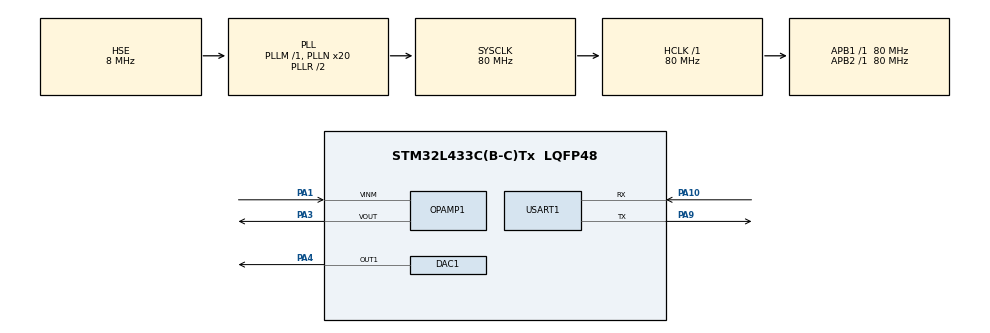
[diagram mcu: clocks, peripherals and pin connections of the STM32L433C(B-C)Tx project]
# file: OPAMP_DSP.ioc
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ADC1.Channel-0\#ChannelRegularConversion=ADC_CHANNEL_8
ADC1.ExternalTrigConv=ADC_EXTERNALTRIG_T1_TRGO
ADC1.NbrOfConversionFlag=1
ADC1.Offset-0\#ChannelRegularConversion=2048
ADC1.OffsetNumber-0\#ChannelRegularConversion=ADC_OFFSET_1
ADC1.Rank-0\#ChannelRegularConversion=1
ADC1.SamplingTime-0\#ChannelRegularConversion=ADC_SAMPLETIME_92CYCLES_5
ADC1.master=1
Dma.ADC1.0.Direction=DMA_PERIPH_TO_MEMORY
Dma.ADC1.0.Instance=DMA1_Channel1
Dma.ADC1.0.MemDataAlignment=DMA_MDATAALIGN_HALFWORD
Dma.ADC1.0.MemInc=DMA_MINC_ENABLE
Dma.ADC1.0.Mode=DMA_NORMAL
Dma.ADC1.0.PeriphDataAlignment=DMA_PDATAALIGN_HALFWORD
Dma.ADC1.0.PeriphInc=DMA_PINC_DISABLE
Dma.ADC1.0.Priority=DMA_PRIORITY_LOW
Dma.Request0=ADC1
Mcu.Family=STM32L4
Mcu.Name=STM32L433C(B-C)Tx
Mcu.Package=LQFP48
NVIC.DMA1_Channel1_IRQn=true\:0\:0\:false\:false\:true\:false\:true
NVIC.PriorityGroup=NVIC_PRIORITYGROUP_4
PA1.Mode=Standalone-DAC_OUT1-INP
PA1.Signal=OPAMP1_VINM
PA10.Mode=Asynchronous
PA10.Signal=USART1_RX
PA3.Mode=Standalone-DAC_OUT1-INP
PA3.Signal=OPAMP1_VOUT
PA4.Signal=COMP_DAC11_group
PA9.Mode=Asynchronous
PA9.Signal=USART1_TX
PH0-OSC_IN\ (PH0).Mode=HSE-External-Oscillator
PH0-OSC_IN\ (PH0).Signal=RCC_OSC_IN
PH1-OSC_OUT\ (PH1).Mode=HSE-External-Oscillator
PH1-OSC_OUT\ (PH1).Signal=RCC_OSC_OUT
ProjectManager.HeapSize=0x200
ProjectManager.StackSize=0x400
ProjectManager.TargetToolchain=STM32CubeIDE
RCC.ADCFreq_Value=32000000
RCC.AHBFreq_Value=80000000
RCC.APB1Freq_Value=80000000
RCC.APB1TimFreq_Value=80000000
RCC.APB2Freq_Value=80000000
RCC.APB2TimFreq_Value=80000000
RCC.CortexFreq_Value=80000000
RCC.HCLKFreq_Value=80000000
RCC.HSE_VALUE=8000000
RCC.HSI48_VALUE=48000000
RCC.HSI_VALUE=16000000
RCC.LSE_VALUE=32768
RCC.MSI_VALUE=4000000
RCC.PLLN=20
RCC.PLLSourceVirtual=RCC_PLLSOURCE_HSE
RCC.SYSCLKFreq_VALUE=80000000
RCC.SYSCLKSource=RCC_SYSCLKSOURCE_PLLCLK
RCC.USBFreq_Value=32000000
RCC.VCOOutputFreq_Value=160000000
SH.COMP_DAC11_group.0=DAC1_OUT1,DAC_OUT1_ExtAndInt
TIM1.Period=46-1
TIM1.Prescaler=40-1
TIM1.TIM_MasterOutputTrigger=TIM_TRGO_UPDATE
TIM1.TIM_MasterSlaveMode=TIM_MASTERSLAVEMODE_ENABLE
USART1.VirtualMode-Asynchronous=VM_ASYNC
VP_ADC1_OPAMP1_OUT.Mode=IN8-OPAMP1-Single-Ended
VP_TIM1_VS_ClockSourceINT.Mode=Internal
board=custom

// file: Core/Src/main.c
/* USER CODE BEGIN Header */
/**
  ******************************************************************************
  * @file           : main.c
  * @brief          : Main program body
  ******************************************************************************
  * @attention
  *
  * <h2><center>&copy; Copyright (c) 2021 STMicroelectronics.
  * All rights reserved.</center></h2>
  *
  * This software component is licensed by ST under BSD 3-Clause license,
  * the "License"; You may not use this file except in compliance with the
  * License. You may obtain a copy of the License at:
  *                        opensource.org/licenses/BSD-3-Clause
  *
  ******************************************************************************
  */
#define ARM_MATH_CM4
/* USER CODE END Header */
#include "main.h"

/* USER CODE BEGIN Includes */
#include "arm_math.h"
#include <stdio.h>
#include <string.h>
#include <stdbool.h>
/* USER CODE END Includes */

/* USER CODE BEGIN PD */
#define ADC_BUFFER_SIZE 2048	// Size of sampling buffer (for DMA)
#define FFT_BUFFER_SIZE 2048	// Size of FFT output buffer
/* USER CODE END PD */

ADC_HandleTypeDef hadc1;
DMA_HandleTypeDef hdma_adc1;

DAC_HandleTypeDef hdac1;

OPAMP_HandleTypeDef hopamp1;

TIM_HandleTypeDef htim1;

UART_HandleTypeDef huart1;

/* USER CODE BEGIN PV */
char message[64];
int16_t adc_buffer[ADC_BUFFER_SIZE];
float32_t adc_buffer_float[ADC_BUFFER_SIZE]; 	// Buffer to store the ADC samples in volts
int freqs[ADC_BUFFER_SIZE];						// Buffer to report FFT amplitude
float32_t fft_out_buf[2*ADC_BUFFER_SIZE];		// Buffer to store the FFT result
volatile bool adc_complete = 0;
/* USER CODE END PV */

void SystemClock_Config(void);
static void MX_GPIO_Init(void);
static void MX_DMA_Init(void);
static void MX_DAC1_Init(void);
static void MX_OPAMP1_Init(void);
static void MX_ADC1_Init(void);
static void MX_USART1_UART_Init(void);
static void MX_TIM1_Init(void);
/* USER CODE BEGIN PFP */
float complexABS(float real, float compl);
void DoFFT();
/* USER CODE END PFP */

/* USER CODE BEGIN 0 */
arm_rfft_fast_instance_f32 fft_inst;
/* USER CODE END 0 */

int main(void)
{

  /* MCU Configuration--------------------------------------------------------*/

  /* Reset of all peripherals, Initializes the Flash interface and the Systick. */
  HAL_Init();

  /* Configure the system clock */
  SystemClock_Config();

  /* Initialize all configured peripherals */
  MX_GPIO_Init();
  MX_DMA_Init();
  MX_DAC1_Init();
  MX_OPAMP1_Init();
  MX_ADC1_Init();
  MX_USART1_UART_Init();
  MX_TIM1_Init();
  /* USER CODE BEGIN 2 */
  arm_rfft_fast_init_f32(&fft_inst, 2048);
  sprintf(message,"Hello \n\r");
  HAL_UART_Transmit(&huart1, (uint8_t*)message, strlen(message), HAL_MAX_DELAY);
  HAL_ADCEx_Calibration_Start(&hadc1, ADC_SINGLE_ENDED);
  HAL_DAC_Start(&hdac1, DAC_CHANNEL_1);
  HAL_OPAMP_Start(&hopamp1);
  HAL_DAC_SetValue(&hdac1, DAC_CHANNEL_1, DAC_ALIGN_12B_R, 2048u);
//  HAL_ADC_Start(&hadc1);
  HAL_TIM_Base_Start(&htim1);
  HAL_ADC_Start_DMA(&hadc1, (uint32_t*)adc_buffer, ADC_BUFFER_SIZE);
  /* USER CODE END 2 */

  /* Infinite loop */
  /* USER CODE BEGIN WHILE */
  while (1)
  {
	  if(adc_complete == 1)
	  {
		  adc_complete = 0;
		  for (int i = 0; i < ADC_BUFFER_SIZE; i++ )
			  adc_buffer_float[i] = (float)adc_buffer[i]*3.3/4096.0;
		  HAL_ADC_Start_DMA(&hadc1, (uint32_t*)adc_buffer, ADC_BUFFER_SIZE);
		  DoFFT();
		  sprintf(message,"S, ");
		  HAL_UART_Transmit(&huart1, (uint8_t*)message, strlen(message), 10);
		  for(int i = 0; i < ADC_BUFFER_SIZE/2; i++)
		  {
			  sprintf(message,"%d, ", freqs[i]);
			  HAL_UART_Transmit(&huart1, (uint8_t*)message, strlen(message), 10);
		  }
		  sprintf(message,"\n\r");
		  HAL_UART_Transmit(&huart1, (uint8_t*)message, strlen(message), 10);
	  }
//	 int16_t adc_value = 0;
//	 HAL_ADC_Start(&hadc1);
//	 HAL_ADC_PollForConversion(&hadc1, 10);
//	 adc_value = HAL_ADC_GetValue(&hadc1);
//	 sprintf(message,"ADC = %d\n\r", adc_value);
//	 HAL_UART_Transmit(&huart1, (uint8_t*)message, strlen(message), 10);
//	 HAL_Delay(100);

    /* USER CODE END WHILE */

  }
}

void SystemClock_Config(void)
{
  RCC_OscInitTypeDef RCC_OscInitStruct = {0};
  RCC_ClkInitTypeDef RCC_ClkInitStruct = {0};
  RCC_PeriphCLKInitTypeDef PeriphClkInit = {0};

  /** Initializes the RCC Oscillators according to the specified parameters
  * in the RCC_OscInitTypeDef structure.
  */
  RCC_OscInitStruct.OscillatorType = RCC_OSCILLATORTYPE_HSE;
  RCC_OscInitStruct.HSEState = RCC_HSE_ON;
  RCC_OscInitStruct.PLL.PLLState = RCC_PLL_ON;
  RCC_OscInitStruct.PLL.PLLSource = RCC_PLLSOURCE_HSE;
  RCC_OscInitStruct.PLL.PLLM = 1;
  RCC_OscInitStruct.PLL.PLLN = 20;
  RCC_OscInitStruct.PLL.PLLP = RCC_PLLP_DIV7;
  RCC_OscInitStruct.PLL.PLLQ = RCC_PLLQ_DIV2;
  RCC_OscInitStruct.PLL.PLLR = RCC_PLLR_DIV2;
  if (HAL_RCC_OscConfig(&RCC_OscInitStruct) != HAL_OK)
  {
    Error_Handler();
  }
  /** Initializes the CPU, AHB and APB buses clocks
  */
  RCC_ClkInitStruct.ClockType = RCC_CLOCKTYPE_HCLK|RCC_CLOCKTYPE_SYSCLK
                              |RCC_CLOCKTYPE_PCLK1|RCC_CLOCKTYPE_PCLK2;
  RCC_ClkInitStruct.SYSCLKSource = RCC_SYSCLKSOURCE_PLLCLK;
  RCC_ClkInitStruct.AHBCLKDivider = RCC_SYSCLK_DIV1;
  RCC_ClkInitStruct.APB1CLKDivider = RCC_HCLK_DIV1;
  RCC_ClkInitStruct.APB2CLKDivider = RCC_HCLK_DIV1;

  if (HAL_RCC_ClockConfig(&RCC_ClkInitStruct, FLASH_LATENCY_4) != HAL_OK)
  {
    Error_Handler();
  }
  PeriphClkInit.PeriphClockSelection = RCC_PERIPHCLK_USART1|RCC_PERIPHCLK_ADC;
  PeriphClkInit.Usart1ClockSelection = RCC_USART1CLKSOURCE_PCLK2;
  PeriphClkInit.AdcClockSelection = RCC_ADCCLKSOURCE_PLLSAI1;
  PeriphClkInit.PLLSAI1.PLLSAI1Source = RCC_PLLSOURCE_HSE;
  PeriphClkInit.PLLSAI1.PLLSAI1M = 1;
  PeriphClkInit.PLLSAI1.PLLSAI1N = 8;
  PeriphClkInit.PLLSAI1.PLLSAI1P = RCC_PLLP_DIV7;
  PeriphClkInit.PLLSAI1.PLLSAI1Q = RCC_PLLQ_DIV2;
  PeriphClkInit.PLLSAI1.PLLSAI1R = RCC_PLLR_DIV2;
  PeriphClkInit.PLLSAI1.PLLSAI1ClockOut = RCC_PLLSAI1_ADC1CLK;
  if (HAL_RCCEx_PeriphCLKConfig(&PeriphClkInit) != HAL_OK)
  {
    Error_Handler();
  }
  /** Configure the main internal regulator output voltage
  */
  if (HAL_PWREx_ControlVoltageScaling(PWR_REGULATOR_VOLTAGE_SCALE1) != HAL_OK)
  {
    Error_Handler();
  }
}

static void MX_ADC1_Init(void)
{

  ADC_ChannelConfTypeDef sConfig = {0};

  /** Common config
  */
  hadc1.Instance = ADC1;
  hadc1.Init.ClockPrescaler = ADC_CLOCK_ASYNC_DIV1;
  hadc1.Init.Resolution = ADC_RESOLUTION_12B;
  hadc1.Init.DataAlign = ADC_DATAALIGN_RIGHT;
  hadc1.Init.ScanConvMode = ADC_SCAN_DISABLE;
  hadc1.Init.EOCSelection = ADC_EOC_SINGLE_CONV;
  hadc1.Init.LowPowerAutoWait = DISABLE;
  hadc1.Init.ContinuousConvMode = DISABLE;
  hadc1.Init.NbrOfConversion = 1;
  hadc1.Init.DiscontinuousConvMode = DISABLE;
  hadc1.Init.ExternalTrigConv = ADC_EXTERNALTRIG_T1_TRGO;
  hadc1.Init.ExternalTrigConvEdge = ADC_EXTERNALTRIGCONVEDGE_RISING;
  hadc1.Init.DMAContinuousRequests = DISABLE;
  hadc1.Init.Overrun = ADC_OVR_DATA_PRESERVED;
  hadc1.Init.OversamplingMode = DISABLE;
  if (HAL_ADC_Init(&hadc1) != HAL_OK)
  {
    Error_Handler();
  }
  /** Configure Regular Channel
  */
  sConfig.Channel = ADC_CHANNEL_8;
  sConfig.Rank = ADC_REGULAR_RANK_1;
  sConfig.SamplingTime = ADC_SAMPLETIME_92CYCLES_5;
  sConfig.SingleDiff = ADC_SINGLE_ENDED;
  sConfig.OffsetNumber = ADC_OFFSET_1;
  sConfig.Offset = 2048;
  if (HAL_ADC_ConfigChannel(&hadc1, &sConfig) != HAL_OK)
  {
    Error_Handler();
  }

}

static void MX_DAC1_Init(void)
{

  DAC_ChannelConfTypeDef sConfig = {0};

  /** DAC Initialization
  */
  hdac1.Instance = DAC1;
  if (HAL_DAC_Init(&hdac1) != HAL_OK)
  {
    Error_Handler();
  }
  /** DAC channel OUT1 config
  */
  sConfig.DAC_SampleAndHold = DAC_SAMPLEANDHOLD_DISABLE;
  sConfig.DAC_Trigger = DAC_TRIGGER_NONE;
  sConfig.DAC_OutputBuffer = DAC_OUTPUTBUFFER_ENABLE;
  sConfig.DAC_ConnectOnChipPeripheral = DAC_CHIPCONNECT_ENABLE;
  sConfig.DAC_UserTrimming = DAC_TRIMMING_FACTORY;
  if (HAL_DAC_ConfigChannel(&hdac1, &sConfig, DAC_CHANNEL_1) != HAL_OK)
  {
    Error_Handler();
  }

}

static void MX_OPAMP1_Init(void)
{

  hopamp1.Instance = OPAMP1;
  hopamp1.Init.PowerSupplyRange = OPAMP_POWERSUPPLY_LOW;
  hopamp1.Init.Mode = OPAMP_STANDALONE_MODE;
  hopamp1.Init.NonInvertingInput = OPAMP_NONINVERTINGINPUT_DAC_CH;
  hopamp1.Init.InvertingInput = OPAMP_INVERTINGINPUT_IO0;
  hopamp1.Init.PowerMode = OPAMP_POWERMODE_NORMAL;
  hopamp1.Init.UserTrimming = OPAMP_TRIMMING_FACTORY;
  if (HAL_OPAMP_Init(&hopamp1) != HAL_OK)
  {
    Error_Handler();
  }

}

static void MX_TIM1_Init(void)
{

  TIM_ClockConfigTypeDef sClockSourceConfig = {0};
  TIM_MasterConfigTypeDef sMasterConfig = {0};

  htim1.Instance = TIM1;
  htim1.Init.Prescaler = 40-1;
  htim1.Init.CounterMode = TIM_COUNTERMODE_UP;
  htim1.Init.Period = 46-1;
  htim1.Init.ClockDivision = TIM_CLOCKDIVISION_DIV1;
  htim1.Init.RepetitionCounter = 0;
  htim1.Init.AutoReloadPreload = TIM_AUTORELOAD_PRELOAD_DISABLE;
  if (HAL_TIM_Base_Init(&htim1) != HAL_OK)
  {
    Error_Handler();
  }
  sClockSourceConfig.ClockSource = TIM_CLOCKSOURCE_INTERNAL;
  if (HAL_TIM_ConfigClockSource(&htim1, &sClockSourceConfig) != HAL_OK)
  {
    Error_Handler();
  }
  sMasterConfig.MasterOutputTrigger = TIM_TRGO_UPDATE;
  sMasterConfig.MasterOutputTrigger2 = TIM_TRGO2_RESET;
  sMasterConfig.MasterSlaveMode = TIM_MASTERSLAVEMODE_ENABLE;
  if (HAL_TIMEx_MasterConfigSynchronization(&htim1, &sMasterConfig) != HAL_OK)
  {
    Error_Handler();
  }

}

static void MX_USART1_UART_Init(void)
{

  huart1.Instance = USART1;
  huart1.Init.BaudRate = 115200;
  huart1.Init.WordLength = UART_WORDLENGTH_8B;
  huart1.Init.StopBits = UART_STOPBITS_1;
  huart1.Init.Parity = UART_PARITY_NONE;
  huart1.Init.Mode = UART_MODE_TX_RX;
  huart1.Init.HwFlowCtl = UART_HWCONTROL_NONE;
  huart1.Init.OverSampling = UART_OVERSAMPLING_16;
  huart1.Init.OneBitSampling = UART_ONE_BIT_SAMPLE_DISABLE;
  huart1.AdvancedInit.AdvFeatureInit = UART_ADVFEATURE_NO_INIT;
  if (HAL_UART_Init(&huart1) != HAL_OK)
  {
    Error_Handler();
  }

}

static void MX_DMA_Init(void)
{

  /* DMA controller clock enable */
  __HAL_RCC_DMA1_CLK_ENABLE();

  /* DMA interrupt init */
  /* DMA1_Channel1_IRQn interrupt configuration */
  HAL_NVIC_SetPriority(DMA1_Channel1_IRQn, 0, 0);
  HAL_NVIC_EnableIRQ(DMA1_Channel1_IRQn);

}

static void MX_GPIO_Init(void)
{

  /* GPIO Ports Clock Enable */
  __HAL_RCC_GPIOH_CLK_ENABLE();
  __HAL_RCC_GPIOA_CLK_ENABLE();

}

/* USER CODE BEGIN 4 */

/**
  * @brief  Compute to norm of a complexe number |z| = sqrt((Re)^2 + (Im)^2)
  * @param  real is the real part of the complexe number
  * @param  compl is the imaginary part of the complexe number
  * @retval None
  */
float complexABS(float real, float compl) {
	return sqrtf(real*real+compl*compl);
}

/**
  * @brief  Compute the FFT of a given array (must be initialized before with arm_rfft_fast_init_f32(&fft_inst, ADC_BUFFER_SIZE))
  * @parm	None
  * @retval None
  */
void DoFFT(void) {
	//Do FFT (last argument is 0 -> fft not invfft)
	arm_rfft_fast_f32(&fft_inst, adc_buffer_float, fft_out_buf, 0);

	int freqpoint = 0;
	int offset = 0; //variable noisefloor offset

	//calculate abs values and linear-to-dB
	for (int i=0; i< (ADC_BUFFER_SIZE*2); i=i+2) {
		float norm = complexABS(fft_out_buf[i], fft_out_buf[i+1]);
		if (norm > 0)
			freqs[freqpoint] = (int)(20*log10f(norm)) - offset;
		//if (freqs[freqpoint]<0) freqs[freqpoint]=0;
		else
			freqs[freqpoint] = 0;
		freqpoint++;
	}
}

void HAL_ADC_ConvCpltCallback(ADC_HandleTypeDef *hadc)
{
	adc_complete = 1;
}
/* USER CODE END 4 */

void Error_Handler(void)
{
  __disable_irq();
  while (1)
  {
  }
}

/************************ (C) COPYRIGHT STMicroelectronics *****END OF FILE****/
